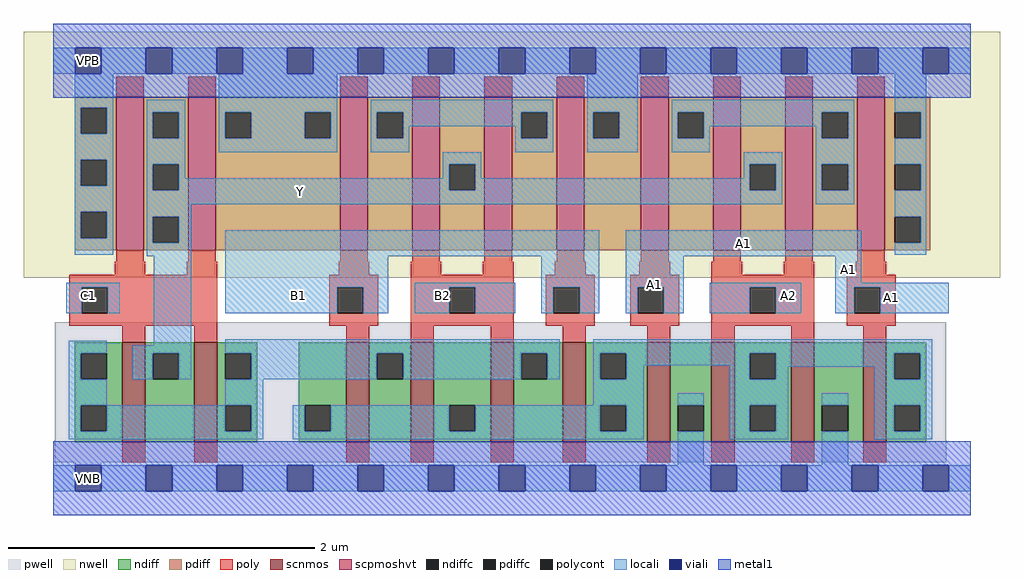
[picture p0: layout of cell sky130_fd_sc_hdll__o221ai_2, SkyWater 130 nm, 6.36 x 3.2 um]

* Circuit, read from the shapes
.subckt sky130_fd_sc_hdll__o221ai_2 A1 A2 B1 B2 C1 VGND VNB VPB VPWR Y
XM1 Y C1 n1 VNB sky130_fd_pr__nfet_01v8 w=0.65 l=0.15 m=2
XM2 n1 B1 n2 VNB sky130_fd_pr__nfet_01v8 w=0.65 l=0.15 m=2
XM3 n2 B2 n1 VNB sky130_fd_pr__nfet_01v8 w=0.65 l=0.15 m=2
XM4 VGND A1 n2 VNB sky130_fd_pr__nfet_01v8 w=0.65 l=0.15 m=2
XM5 n2 A2 VGND VNB sky130_fd_pr__nfet_01v8 w=0.65 l=0.15 m=2
XM6 Y C1 VPWR VPB sky130_fd_pr__pfet_01v8_hvt w=1 l=0.18 m=2
XM7 n3 B1 VPWR VPB sky130_fd_pr__pfet_01v8_hvt w=1 l=0.18 m=2
XM8 Y B2 n3 VPB sky130_fd_pr__pfet_01v8_hvt w=1 l=0.18 m=2
XM9 n4 A1 VPWR VPB sky130_fd_pr__pfet_01v8_hvt w=1 l=0.18 m=2
XM10 Y A2 n4 VPB sky130_fd_pr__pfet_01v8_hvt w=1 l=0.18 m=2
.ends

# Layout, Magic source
magic
tech sky130A
magscale 1 2
<< nwell >>
rect -38 261 1234 582
<< pwell >>
rect 2 21 1164 203
rect 29 -17 63 21
<< scnmos >>
rect 90 47 120 177
rect 184 47 214 177
rect 382 47 412 177
rect 466 47 496 177
rect 570 47 600 177
rect 664 47 694 177
rect 774 47 804 177
rect 858 47 888 177
rect 962 47 992 177
rect 1056 47 1086 177
<< scpmoshvt >>
rect 82 297 118 497
rect 176 297 212 497
rect 374 297 410 497
rect 468 297 504 497
rect 562 297 598 497
rect 656 297 692 497
rect 766 297 802 497
rect 860 297 896 497
rect 954 297 990 497
rect 1048 297 1084 497
<< ndiff >>
rect 28 163 90 177
rect 28 129 36 163
rect 70 129 90 163
rect 28 95 90 129
rect 28 61 36 95
rect 70 61 90 95
rect 28 47 90 61
rect 120 163 184 177
rect 120 129 130 163
rect 164 129 184 163
rect 120 47 184 129
rect 214 163 266 177
rect 214 129 224 163
rect 258 129 266 163
rect 214 95 266 129
rect 214 61 224 95
rect 258 61 266 95
rect 214 47 266 61
rect 320 95 382 177
rect 320 61 328 95
rect 362 61 382 95
rect 320 47 382 61
rect 412 163 466 177
rect 412 129 422 163
rect 456 129 466 163
rect 412 47 466 129
rect 496 95 570 177
rect 496 61 516 95
rect 550 61 570 95
rect 496 47 570 61
rect 600 163 664 177
rect 600 129 610 163
rect 644 129 664 163
rect 600 47 664 129
rect 694 163 774 177
rect 694 129 713 163
rect 747 129 774 163
rect 694 95 774 129
rect 694 61 713 95
rect 747 61 774 95
rect 694 47 774 61
rect 804 95 858 177
rect 804 61 814 95
rect 848 61 858 95
rect 804 47 858 61
rect 888 163 962 177
rect 888 129 908 163
rect 942 129 962 163
rect 888 95 962 129
rect 888 61 908 95
rect 942 61 962 95
rect 888 47 962 61
rect 992 95 1056 177
rect 992 61 1002 95
rect 1036 61 1056 95
rect 992 47 1056 61
rect 1086 163 1138 177
rect 1086 129 1096 163
rect 1130 129 1138 163
rect 1086 95 1138 129
rect 1086 61 1096 95
rect 1130 61 1138 95
rect 1086 47 1138 61
<< pdiff >>
rect 28 483 82 497
rect 28 449 36 483
rect 70 449 82 483
rect 28 415 82 449
rect 28 381 36 415
rect 70 381 82 415
rect 28 347 82 381
rect 28 313 36 347
rect 70 313 82 347
rect 28 297 82 313
rect 118 477 176 497
rect 118 443 130 477
rect 164 443 176 477
rect 118 409 176 443
rect 118 375 130 409
rect 164 375 176 409
rect 118 341 176 375
rect 118 307 130 341
rect 164 307 176 341
rect 118 297 176 307
rect 212 477 374 497
rect 212 443 224 477
rect 258 443 328 477
rect 362 443 374 477
rect 212 297 374 443
rect 410 477 468 497
rect 410 443 422 477
rect 456 443 468 477
rect 410 297 468 443
rect 504 409 562 497
rect 504 375 516 409
rect 550 375 562 409
rect 504 297 562 375
rect 598 477 656 497
rect 598 443 610 477
rect 644 443 656 477
rect 598 297 656 443
rect 692 477 766 497
rect 692 443 704 477
rect 738 443 766 477
rect 692 297 766 443
rect 802 477 860 497
rect 802 443 814 477
rect 848 443 860 477
rect 802 297 860 443
rect 896 409 954 497
rect 896 375 908 409
rect 942 375 954 409
rect 896 297 954 375
rect 990 477 1048 497
rect 990 443 1002 477
rect 1036 443 1048 477
rect 990 409 1048 443
rect 990 375 1002 409
rect 1036 375 1048 409
rect 990 297 1048 375
rect 1084 477 1143 497
rect 1084 443 1097 477
rect 1131 443 1143 477
rect 1084 409 1143 443
rect 1084 375 1097 409
rect 1131 375 1143 409
rect 1084 341 1143 375
rect 1084 307 1097 341
rect 1131 307 1143 341
rect 1084 297 1143 307
<< ndiffc >>
rect 36 129 70 163
rect 36 61 70 95
rect 130 129 164 163
rect 224 129 258 163
rect 224 61 258 95
rect 328 61 362 95
rect 422 129 456 163
rect 516 61 550 95
rect 610 129 644 163
rect 713 129 747 163
rect 713 61 747 95
rect 814 61 848 95
rect 908 129 942 163
rect 908 61 942 95
rect 1002 61 1036 95
rect 1096 129 1130 163
rect 1096 61 1130 95
<< pdiffc >>
rect 36 449 70 483
rect 36 381 70 415
rect 36 313 70 347
rect 130 443 164 477
rect 130 375 164 409
rect 130 307 164 341
rect 224 443 258 477
rect 328 443 362 477
rect 422 443 456 477
rect 516 375 550 409
rect 610 443 644 477
rect 704 443 738 477
rect 814 443 848 477
rect 908 375 942 409
rect 1002 443 1036 477
rect 1002 375 1036 409
rect 1097 443 1131 477
rect 1097 375 1131 409
rect 1097 307 1131 341
<< poly >>
rect 82 497 118 523
rect 176 497 212 523
rect 374 497 410 523
rect 468 497 504 523
rect 562 497 598 523
rect 656 497 692 523
rect 766 497 802 523
rect 860 497 896 523
rect 954 497 990 523
rect 1048 497 1084 523
rect 82 282 118 297
rect 176 282 212 297
rect 374 282 410 297
rect 468 282 504 297
rect 562 282 598 297
rect 656 282 692 297
rect 766 282 802 297
rect 860 282 896 297
rect 954 282 990 297
rect 1048 282 1084 297
rect 80 265 120 282
rect 174 265 214 282
rect 372 265 412 282
rect 466 265 506 282
rect 560 265 600 282
rect 654 265 694 282
rect 764 265 804 282
rect 858 265 898 282
rect 952 265 992 282
rect 1046 265 1086 282
rect 21 249 214 265
rect 21 215 37 249
rect 71 215 214 249
rect 21 199 214 215
rect 360 249 424 265
rect 360 215 370 249
rect 404 215 424 249
rect 360 199 424 215
rect 466 249 600 265
rect 466 215 516 249
rect 550 215 600 249
rect 466 199 600 215
rect 642 249 706 265
rect 642 215 652 249
rect 686 215 706 249
rect 642 199 706 215
rect 752 249 816 265
rect 752 215 762 249
rect 796 215 816 249
rect 752 199 816 215
rect 858 249 992 265
rect 858 215 908 249
rect 942 215 992 249
rect 858 199 992 215
rect 1034 249 1098 265
rect 1034 215 1044 249
rect 1078 215 1098 249
rect 1034 199 1098 215
rect 90 177 120 199
rect 184 177 214 199
rect 382 177 412 199
rect 466 177 496 199
rect 570 177 600 199
rect 664 177 694 199
rect 774 177 804 199
rect 858 177 888 199
rect 962 177 992 199
rect 1056 177 1086 199
rect 90 21 120 47
rect 184 21 214 47
rect 382 21 412 47
rect 466 21 496 47
rect 570 21 600 47
rect 664 21 694 47
rect 774 21 804 47
rect 858 21 888 47
rect 962 21 992 47
rect 1056 21 1086 47
<< polycont >>
rect 37 215 71 249
rect 370 215 404 249
rect 516 215 550 249
rect 652 215 686 249
rect 762 215 796 249
rect 908 215 942 249
rect 1044 215 1078 249
<< locali >>
rect 0 527 29 561
rect 63 527 121 561
rect 155 527 213 561
rect 247 527 305 561
rect 339 527 397 561
rect 431 527 489 561
rect 523 527 581 561
rect 615 527 673 561
rect 707 527 765 561
rect 799 527 857 561
rect 891 527 949 561
rect 983 527 1041 561
rect 1075 527 1133 561
rect 1167 527 1196 561
rect 28 483 78 527
rect 28 449 36 483
rect 70 449 78 483
rect 28 415 78 449
rect 28 381 36 415
rect 70 381 78 415
rect 28 347 78 381
rect 28 313 36 347
rect 70 313 78 347
rect 28 291 78 313
rect 122 477 172 493
rect 122 443 130 477
rect 164 443 172 477
rect 122 409 172 443
rect 216 477 370 527
rect 216 443 224 477
rect 258 443 328 477
rect 362 443 370 477
rect 216 425 370 443
rect 414 477 652 493
rect 414 443 422 477
rect 456 459 610 477
rect 456 443 464 459
rect 414 425 464 443
rect 602 443 610 459
rect 644 443 652 477
rect 602 425 652 443
rect 696 477 762 527
rect 696 443 704 477
rect 738 443 762 477
rect 696 425 762 443
rect 806 477 1044 493
rect 806 443 814 477
rect 848 459 1002 477
rect 848 443 856 459
rect 806 425 856 443
rect 994 443 1002 459
rect 1036 443 1044 477
rect 122 375 130 409
rect 164 391 172 409
rect 508 409 558 425
rect 508 391 516 409
rect 164 375 516 391
rect 550 391 558 409
rect 900 409 950 425
rect 900 391 908 409
rect 550 375 908 391
rect 942 375 950 409
rect 122 357 950 375
rect 994 409 1044 443
rect 994 375 1002 409
rect 1036 375 1044 409
rect 994 357 1044 375
rect 1097 477 1138 527
rect 1131 443 1138 477
rect 1097 409 1138 443
rect 1131 375 1138 409
rect 122 341 180 357
rect 122 307 130 341
rect 164 307 180 341
rect 1097 341 1138 375
rect 122 289 180 307
rect 17 249 87 255
rect 17 215 37 249
rect 71 215 87 249
rect 20 163 70 179
rect 131 173 180 289
rect 224 289 712 323
rect 224 249 437 289
rect 224 215 370 249
rect 404 215 437 249
rect 471 249 602 255
rect 471 215 516 249
rect 550 215 602 249
rect 636 249 712 289
rect 636 215 652 249
rect 686 215 712 249
rect 746 289 1053 323
rect 1131 307 1138 341
rect 1097 291 1138 307
rect 746 249 822 289
rect 1019 255 1053 289
rect 746 215 762 249
rect 796 215 822 249
rect 856 249 975 255
rect 856 215 908 249
rect 942 215 975 249
rect 1019 249 1167 255
rect 1019 215 1044 249
rect 1078 215 1167 249
rect 20 129 36 163
rect 104 163 180 173
rect 104 129 130 163
rect 164 129 180 163
rect 224 163 660 181
rect 258 129 422 163
rect 456 129 610 163
rect 644 129 660 163
rect 704 163 1146 181
rect 704 129 713 163
rect 747 147 908 163
rect 747 129 770 147
rect 20 95 70 129
rect 224 95 274 129
rect 704 95 770 129
rect 882 129 908 147
rect 942 145 1096 163
rect 942 129 958 145
rect 20 61 36 95
rect 70 61 224 95
rect 258 61 274 95
rect 20 51 274 61
rect 312 61 328 95
rect 362 61 516 95
rect 550 61 713 95
rect 747 61 770 95
rect 312 51 770 61
rect 814 95 848 111
rect 814 17 848 61
rect 882 95 958 129
rect 1070 129 1096 145
rect 1130 129 1146 163
rect 882 61 908 95
rect 942 61 958 95
rect 882 51 958 61
rect 1002 95 1036 111
rect 1002 17 1036 61
rect 1070 95 1146 129
rect 1070 61 1096 95
rect 1130 61 1146 95
rect 1070 51 1146 61
rect 0 -17 29 17
rect 63 -17 121 17
rect 155 -17 213 17
rect 247 -17 305 17
rect 339 -17 397 17
rect 431 -17 489 17
rect 523 -17 581 17
rect 615 -17 673 17
rect 707 -17 765 17
rect 799 -17 857 17
rect 891 -17 949 17
rect 983 -17 1041 17
rect 1075 -17 1133 17
rect 1167 -17 1196 17
<< viali >>
rect 29 527 63 561
rect 121 527 155 561
rect 213 527 247 561
rect 305 527 339 561
rect 397 527 431 561
rect 489 527 523 561
rect 581 527 615 561
rect 673 527 707 561
rect 765 527 799 561
rect 857 527 891 561
rect 949 527 983 561
rect 1041 527 1075 561
rect 1133 527 1167 561
rect 29 -17 63 17
rect 121 -17 155 17
rect 213 -17 247 17
rect 305 -17 339 17
rect 397 -17 431 17
rect 489 -17 523 17
rect 581 -17 615 17
rect 673 -17 707 17
rect 765 -17 799 17
rect 857 -17 891 17
rect 949 -17 983 17
rect 1041 -17 1075 17
rect 1133 -17 1167 17
<< metal1 >>
rect 0 561 1196 592
rect 0 527 29 561
rect 63 527 121 561
rect 155 527 213 561
rect 247 527 305 561
rect 339 527 397 561
rect 431 527 489 561
rect 523 527 581 561
rect 615 527 673 561
rect 707 527 765 561
rect 799 527 857 561
rect 891 527 949 561
rect 983 527 1041 561
rect 1075 527 1133 561
rect 1167 527 1196 561
rect 0 496 1196 527
rect 0 17 1196 48
rect 0 -17 29 17
rect 63 -17 121 17
rect 155 -17 213 17
rect 247 -17 305 17
rect 339 -17 397 17
rect 431 -17 489 17
rect 523 -17 581 17
rect 615 -17 673 17
rect 707 -17 765 17
rect 799 -17 857 17
rect 891 -17 949 17
rect 983 -17 1041 17
rect 1075 -17 1133 17
rect 1167 -17 1196 17
rect 0 -48 1196 -17
<< labels >>
flabel locali s 303 221 337 255 0 FreeSans 400 0 0 0 B1
port 3 nsew signal input
flabel locali s 490 221 524 255 0 FreeSans 400 0 0 0 B2
port 4 nsew signal input
flabel locali s 305 357 339 391 0 FreeSans 400 0 0 0 Y
port 10 nsew signal output
flabel locali s 941 221 975 255 0 FreeSans 400 180 0 0 A2
port 2 nsew signal input
flabel locali s 1019 255 1053 289 0 FreeSans 400 180 0 0 A1
port 1 nsew signal input
flabel locali s 29 221 63 255 0 FreeSans 400 0 0 0 C1
port 5 nsew signal input
flabel pwell s 29 -17 63 17 0 FreeSans 200 0 0 0 VNB
port 7 nsew ground bidirectional
flabel nwell s 29 527 63 561 0 FreeSans 200 0 0 0 VPB
port 8 nsew power bidirectional
flabel metal1 s 29 -17 63 17 0 FreeSans 200 0 0 0 VGND
port 6 nsew ground bidirectional
flabel metal1 s 29 527 63 561 0 FreeSans 200 0 0 0 VPWR
port 9 nsew power bidirectional
rlabel comment s 0 0 0 0 4 o221ai_2
rlabel locali s 1019 215 1167 255 1 A1
port 1 nsew signal input
rlabel locali s 746 289 1053 323 1 A1
port 1 nsew signal input
rlabel locali s 746 215 822 289 1 A1
port 1 nsew signal input
<< properties >>
string LEFsite unithd
string LEFclass CORE
string FIXED_BBOX 0 0 1196 544
string GDS_FILE $PDKPATH/libs.ref/sky130_fd_sc_hdll/gds/sky130_fd_sc_hdll.gds
string LEFsymmetry X Y R90
string GDS_END 2519174
string GDS_START 2510028
string LEFproperties maskLayoutSubType "abstract" prCellType "standard" originalViewName "layout"
<< end >>
